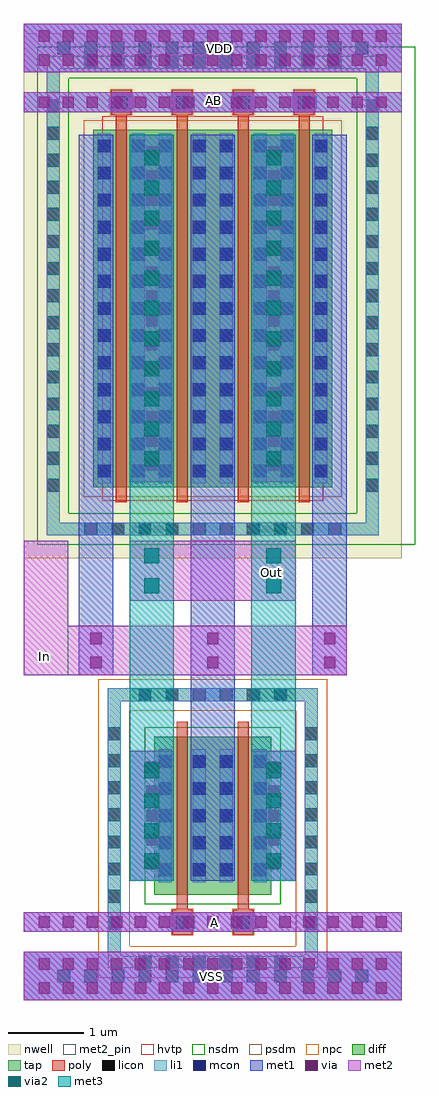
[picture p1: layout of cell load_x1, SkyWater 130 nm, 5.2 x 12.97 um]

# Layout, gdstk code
import gdstk
lib = gdstk.Library(unit=1e-6, precision=1e-09)
def R(c, l, rs):  # rectangles x0, y0, x1, y1
    for r in rs: c.add(gdstk.rectangle(r[:2], r[2:], *l))
def A(c, l, x, y, w, h, nx, ny, dx, dy):  # array of equal rectangles
    R(c, l, [(x+i*dx, y+j*dy, x+i*dx+w, y+j*dy+h) for i in range(nx) for j in range(ny)])
nwell = (64, 20)
diff = (65, 20)
tap = (65, 44)
poly = (66, 20)
licon = (66, 44)
li1 = (67, 20)
mcon = (67, 44)
met1 = (68, 20)
via = (68, 44)
met2_pin = (69, 16)
met2 = (69, 20)
via2 = (69, 44)
met3 = (70, 20)
hvtp = (78, 44)
nsdm = (93, 44)
psdm = (94, 20)
npc = (95, 20)

load_x1 = lib.new_cell('load_x1')
A(load_x1, nwell, 5.04, 1.3, 1.36, 5.85, 4, 1, 0.81, 0)
R(load_x1, nwell, [(4.425,0.735,8.965,7.715), (8.965,0.735,9.445,7.715)])
A(load_x1, diff, 5.345, 1.68, 0.75, 4.75, 4, 1, 0.81, 0)
A(load_x1, diff, 6.095, 1.68, 0.155, 4.75, 3, 1, 0.81, 0)
R(load_x1, diff, [(6.155,-3.735,6.905,-1.635), (6.905,-3.735,6.965,-1.635), (6.965,-3.735,7.715,-1.635)])
R(load_x1, tap, [(5.54,-4.715,5.71,-0.995), (5.71,-4.715,8.16,-4.545), (8.16,-4.715,8.33,-0.995), (5.71,-1.165,8.16,-0.995), (4.73,1.04,8.97,1.21), (4.73,1.04,4.9,7.24), (4.9,1.04,8.49,1.21), (8.97,1.04,9.14,7.24), (4.73,7.24,9.14,7.41)])
A(load_x1, poly, 5.645, 1.48, 0.15, 5.15, 4, 1, 0.81, 0)
A(load_x1, poly, 5.585, 6.63, 0.27, 0.33, 4, 1, 0.81, 0)
R(load_x1, poly, [(6.395,-4.265,6.665,-3.935), (7.205,-4.265,7.475,-3.935), (6.455,-3.935,6.605,-1.435), (7.265,-3.935,7.415,-1.435)])
A(load_x1, licon, 5.95, -4.715, 0.17, 0.17, 6, 2, 0.36, 3.55)
A(load_x1, licon, 5.54, -4.2, 0.17, 0.17, 1, 8, 0, 0.36)
A(load_x1, licon, 8.16, -4.2, 0.17, 0.17, 1, 8, 0, 0.36)
A(load_x1, licon, 6.22, -3.49, 0.17, 0.17, 1, 5, 0, 0.36)
A(load_x1, licon, 6.67, -3.49, 0.17, 0.17, 1, 5, 0, 0.36)
A(load_x1, licon, 7.03, -3.49, 0.17, 0.17, 1, 5, 0, 0.36)
A(load_x1, licon, 7.48, -3.49, 0.17, 0.17, 1, 5, 0, 0.36)
A(load_x1, licon, 5.23, 1.04, 0.17, 0.17, 10, 2, 0.36, 6.2)
A(load_x1, licon, 4.73, 1.62, 0.17, 0.17, 1, 15, 0, 0.36)
A(load_x1, licon, 8.97, 1.62, 0.17, 0.17, 1, 15, 0, 0.36)
A(load_x1, licon, 5.41, 1.81, 0.17, 0.17, 1, 13, 0, 0.36)
A(load_x1, licon, 5.86, 1.81, 0.17, 0.17, 1, 13, 0, 0.36)
A(load_x1, licon, 6.22, 1.81, 0.17, 0.17, 1, 13, 0, 0.36)
A(load_x1, licon, 6.67, 1.81, 0.17, 0.17, 1, 13, 0, 0.36)
A(load_x1, licon, 7.03, 1.81, 0.17, 0.17, 1, 13, 0, 0.36)
A(load_x1, licon, 7.48, 1.81, 0.17, 0.17, 1, 13, 0, 0.36)
A(load_x1, licon, 7.84, 1.81, 0.17, 0.17, 1, 13, 0, 0.36)
A(load_x1, licon, 8.29, 1.81, 0.17, 0.17, 1, 13, 0, 0.36)
A(load_x1, licon, 5.635, 6.71, 0.17, 0.17, 4, 1, 0.81, 0)
R(load_x1, licon, [(6.445,-4.185,6.615,-4.015), (7.255,-4.185,7.425,-4.015)])
A(load_x1, li1, 5.555, 6.71, 0.33, 0.17, 4, 1, 0.81, 0)
R(load_x1, li1, [(4.425,-5.135,9.445,-4.495), (5.54,-4.715,5.71,-0.995), (5.71,-4.715,8.16,-4.545), (8.16,-4.715,8.33,-0.995), (6.365,-4.185,6.695,-4.015), (7.175,-4.185,7.505,-4.015), (6.22,-3.57,6.39,-1.8), (6.67,-3.57,6.84,-1.8), (7.03,-3.57,7.2,-1.8), (7.48,-3.57,7.65,-1.8), (5.71,-1.165,8.16,-0.995), (4.73,1.04,8.97,1.21), (4.73,1.04,4.9,7.24), (8.97,1.04,9.14,7.24), (5.41,1.73,5.58,6.38), (5.86,1.73,6.03,6.38), (6.22,1.73,6.39,6.38), (6.67,1.73,6.84,6.38), (7.03,1.73,7.2,6.38), (7.48,1.73,7.65,6.38), (7.84,1.73,8.01,6.38), (8.29,1.73,8.46,6.38), (4.425,7.195,9.445,7.835), (4.73,7.24,9.14,7.41)])
A(load_x1, mcon, 4.87, -4.9, 0.17, 0.17, 12, 2, 0.36, 12.33)
A(load_x1, mcon, 6.22, -3.49, 0.17, 0.17, 1, 5, 0, 0.36)
A(load_x1, mcon, 6.67, -3.49, 0.17, 0.17, 1, 5, 0, 0.36)
A(load_x1, mcon, 7.03, -3.49, 0.17, 0.17, 1, 5, 0, 0.36)
A(load_x1, mcon, 7.48, -3.49, 0.17, 0.17, 1, 5, 0, 0.36)
A(load_x1, mcon, 5.41, 1.81, 0.17, 0.17, 1, 13, 0, 0.36)
A(load_x1, mcon, 5.86, 1.81, 0.17, 0.17, 1, 13, 0, 0.36)
A(load_x1, mcon, 6.22, 1.81, 0.17, 0.17, 1, 13, 0, 0.36)
A(load_x1, mcon, 6.67, 1.81, 0.17, 0.17, 1, 13, 0, 0.36)
A(load_x1, mcon, 7.03, 1.81, 0.17, 0.17, 1, 13, 0, 0.36)
A(load_x1, mcon, 7.48, 1.81, 0.17, 0.17, 1, 13, 0, 0.36)
A(load_x1, mcon, 7.84, 1.81, 0.17, 0.17, 1, 13, 0, 0.36)
A(load_x1, mcon, 8.29, 1.81, 0.17, 0.17, 1, 13, 0, 0.36)
A(load_x1, mcon, 5.635, 6.71, 0.17, 0.17, 4, 1, 0.81, 0)
R(load_x1, mcon, [(6.445,-4.185,6.615,-4.015), (7.255,-4.185,7.425,-4.015)])
A(load_x1, met1, 6.06, 1.75, 0.13, 4.61, 3, 1, 0.81, 0)
A(load_x1, met1, 5.535, 6.68, 0.37, 0.23, 4, 1, 0.81, 0)
R(load_x1, met1, [(4.425,-5.135,9.445,-4.495), (4.425,-4.23,9.445,-3.97), (6.345,-4.215,6.715,-3.985), (7.155,-4.215,7.525,-3.985), (5.83,-3.55,6.42,-1.82), (6.19,-3.55,6.42,-1.82), (6.64,-3.55,6.87,-1.82), (6.87,-3.55,7,-1.82), (7,-3.55,7.23,-1.82), (7.45,-3.55,7.68,-1.82), (7.45,-3.55,8.04,-1.82), (6.64,-1.82,7.23,-0.16), (5.155,-0.82,5.61,-0.16), (6.64,-0.82,7.23,-0.16), (8.26,-0.82,8.715,-0.16), (8.26,-0.82,8.715,1.75), (5.155,-0.16,5.61,1.75), (6.64,-0.16,7.23,1.75), (5.155,1.75,5.61,6.36), (5.38,1.75,5.61,6.36), (5.83,1.75,6.42,6.36), (5.83,1.75,6.06,6.36), (6.19,1.75,6.42,6.36), (6.64,1.75,6.87,6.36), (7,1.75,7.23,6.36), (7.45,1.75,8.04,6.36), (7.45,1.75,7.68,6.36), (7.81,1.75,8.04,6.36), (8.26,1.75,8.49,6.36), (8.26,1.75,8.715,6.36), (4.425,6.665,9.445,6.925), (4.425,7.195,9.445,7.835)])
A(load_x1, via, 4.62, -5.05, 0.15, 0.15, 15, 2, 0.32, 0.32)
A(load_x1, via, 4.62, -4.175, 0.15, 0.15, 15, 2, 0.32, 10.895)
A(load_x1, via, 6.05, -3.4, 0.15, 0.15, 1, 5, 0, 0.32)
A(load_x1, via, 7.67, -3.4, 0.15, 0.15, 1, 5, 0, 0.32)
A(load_x1, via, 6.05, 1.9, 0.15, 0.15, 1, 14, 0, 0.32)
A(load_x1, via, 7.67, 1.9, 0.15, 0.15, 1, 14, 0, 0.32)
A(load_x1, via, 4.62, 7.28, 0.15, 0.15, 15, 2, 0.32, 0.32)
R(load_x1, via, [(5.31,-0.725,5.46,-0.575), (6.86,-0.725,7.01,-0.575), (8.415,-0.725,8.565,-0.575), (5.31,-0.405,5.46,-0.255), (6.86,-0.405,7.01,-0.255), (8.415,-0.405,8.565,-0.255)])
R(load_x1, met2_pin, [(4.425,-5.135,9.445,-4.495), (4.425,-4.23,9.445,-3.97), (4.425,-0.82,5.015,0.97), (7.45,0.17,8.04,0.97), (4.425,6.665,9.445,6.925), (4.425,7.195,9.445,7.835)])
R(load_x1, met2, [(4.425,-5.135,9.445,-4.495), (4.425,-5.135,9.445,-4.495), (4.425,-4.23,9.445,-3.97), (5.83,-3.55,6.42,-1.82), (7.45,-3.55,8.04,-1.82), (4.425,-0.82,8.26,-0.16), (5.155,-0.82,5.61,-0.16), (6.64,-0.82,7.23,-0.16), (8.26,-0.82,8.715,-0.16), (4.425,-0.16,5.015,0.97), (5.83,0.17,6.42,0.97), (5.83,0.17,8.04,0.97), (7.45,0.17,8.04,0.97), (5.83,1.75,6.42,6.36), (7.45,1.75,8.04,6.36), (4.425,6.665,9.445,6.925), (4.425,7.195,9.445,7.835), (4.425,7.195,9.445,7.835)])
A(load_x1, via2, 6.025, -3.385, 0.2, 0.2, 1, 4, 0, 0.4)
A(load_x1, via2, 7.645, -3.385, 0.2, 0.2, 1, 4, 0, 0.4)
A(load_x1, via2, 6.025, 1.955, 0.2, 0.2, 1, 11, 0, 0.4)
A(load_x1, via2, 7.645, 1.955, 0.2, 0.2, 1, 11, 0, 0.4)
R(load_x1, via2, [(6.025,0.27,6.225,0.47), (7.645,0.27,7.845,0.47), (6.025,0.67,6.225,0.87), (7.645,0.67,7.845,0.87)])
R(load_x1, met3, [(5.83,-3.55,6.42,-1.82), (7.45,-3.55,8.04,-1.82), (5.83,-2.16,6.42,0.17), (7.45,-2.16,8.04,0.17), (5.83,0.17,6.42,0.97), (7.45,0.17,8.04,0.97), (5.83,0.97,6.42,2.09), (7.45,0.97,8.04,2.09), (5.83,1.75,6.42,6.36), (7.45,1.75,8.04,6.36)])
A(load_x1, hvtp, 5.465, 1.5, 0.51, 5.11, 4, 1, 0.81, 0)
A(load_x1, hvtp, 5.975, 1.5, 0.3, 5.11, 3, 1, 0.81, 0)
R(load_x1, nsdm, [(6.03,-3.86,7.03,-1.51), (6.84,-3.86,7.84,-1.51), (4.605,0.915,9.27,1.335), (9.27,0.915,9.625,7.535), (4.605,1.335,5.025,7.115), (8.85,1.335,9.27,7.115), (4.605,7.115,9.27,7.535)])
A(load_x1, psdm, 5.22, 1.555, 1, 5, 4, 1, 0.81, 0)
R(load_x1, psdm, [(5.415,-4.84,5.835,-0.87), (5.835,-4.84,8.035,-4.42), (8.035,-4.84,8.455,-0.87), (5.835,-1.29,8.035,-0.87)])
A(load_x1, npc, 5.575, 6.62, 0.29, 0.35, 4, 1, 0.81, 0)
R(load_x1, npc, [(6.385,-4.275,6.675,-3.925), (7.195,-4.275,7.485,-3.925)])
load_x1.add(gdstk.Label('In', (4.705,-0.575), layer=69, texttype=5))
load_x1.add(gdstk.Label('Out', (7.71,0.55), layer=69, texttype=5))
load_x1.add(gdstk.Label('VSS', (6.915,-4.82), layer=69, texttype=5))
load_x1.add(gdstk.Label('VDD', (7.03,7.51), layer=69, texttype=5))
load_x1.add(gdstk.Label('A', (6.96,-4.11), layer=69, texttype=5))
load_x1.add(gdstk.Label('AB', (6.945,6.82), layer=69, texttype=5))

lib.write_gds('load_x1.gds')
